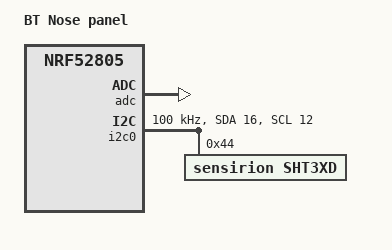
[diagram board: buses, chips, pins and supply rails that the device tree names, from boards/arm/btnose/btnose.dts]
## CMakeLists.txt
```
cmake_minimum_required(VERSION 3.20.1)

set(BOARD_ROOT ${CMAKE_CURRENT_LIST_DIR})
set(BOARD btnose)

include($ENV{ZEPHYR_BASE}/cmake/app/boilerplate.cmake NO_POLICY_SCOPE)
project(btnose)

target_sources(app PRIVATE ../src/main.c)
```

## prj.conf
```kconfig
CONFIG_BT=y
CONFIG_BT_DEBUG_LOG=y
CONFIG_BT_DEVICE_NAME="BTNose"

CONFIG_GPIO=y
CONFIG_WATCHDOG=y

CONFIG_UART_CONSOLE=n
CONFIG_USE_SEGGER_RTT=y
CONFIG_SEGGER_RTT_MODE_NO_BLOCK_SKIP=y
CONFIG_RTT_CONSOLE=y

CONFIG_TRACING=y
CONFIG_THREAD_NAME=y
CONFIG_SEGGER_SYSTEMVIEW=y
CONFIG_SEGGER_SYSTEMVIEW_BOOT_ENABLE=y

CONFIG_LOG=y
CONFIG_LOG_FUNC_NAME_PREFIX_DBG=n
CONFIG_LOG_PRINTK=y
CONFIG_LOG_BACKEND_RTT=y
CONFIG_LOG_BACKEND_RTT_MODE_BLOCK=n
CONFIG_LOG_PROCESS_TRIGGER_THRESHOLD=0
CONFIG_LOG_PROCESS_THREAD_SLEEP_MS=0

CONFIG_LOG_DEFAULT_LEVEL=4
CONFIG_CBPRINTF_FP_SUPPORT=y

CONFIG_I2C=y
CONFIG_I2C_NRFX=y
CONFIG_I2C_INIT_PRIORITY=60
#CONFIG_I2C_LOG_LEVEL=4

CONFIG_SENSOR=y
#CONFIG_HTS221=y
#CONFIG_HTS221_TRIGGER_NONE=y
CONFIG_SHT3XD=y
CONFIG_SHT3XD_SINGLE_SHOT_MODE=y

CONFIG_REBOOT=y
```

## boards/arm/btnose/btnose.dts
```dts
/*
 * Copyright (c) 2017 Shawn Nock <shawn@monadnock.ca>
 * Copyright (c) 2017 Linaro Limited
 *
 * SPDX-License-Identifier: Apache-2.0
 */

/dts-v1/;
#include <nordic/nrf52805_caaa.dtsi>

/ {
	model = "BT Nose panel";
	compatible = "nrf52805";

	chosen {
		zephyr,console = &uart0;
		zephyr,shell-uart = &uart0;
		zephyr,uart-mcumgr = &uart0;
		zephyr,bt-mon-uart = &uart0;
		zephyr,bt-c2h-uart = &uart0;
		zephyr,sram = &sram0;
		zephyr,flash = &flash0;
		zephyr,code-partition = &slot0_partition;
	};

};

&adc {
	status = "okay";
};

&gpio0 {
	status = "okay";
};

&i2c0 {
	/* Cannot be used together with spi1. */
	status = "okay";
	compatible = "nordic,nrf-twi";
	clock-frequency = <I2C_BITRATE_STANDARD>;
	sda-pin = <16>;
	scl-pin = <12>;

    sht3xd@44 {
		compatible = "sensirion,sht3xd";
		reg = <0x44>;
		label = "SHT3XD";
	};

};

&flash0 {
	/*
	 * For more information, see:
	 * http://docs.zephyrproject.org/latest/guides/dts/index.html#flash-partitions
	 */
	partitions {
		compatible = "fixed-partitions";
		#address-cells = <1>;
		#size-cells = <1>;

		boot_partition: partition@0 {
			label = "mcuboot";
			reg = <0x00000000 0xc000>;
		};
		slot0_partition: partition@c000 {
			label = "image-0";
			reg = <0x0000C000 0x32000>;
		};
		slot1_partition: partition@3e000 {
			label = "image-1";
			reg = <0x0003E000 0x32000>;
		};
		scratch_partition: partition@70000 {
			label = "image-scratch";
			reg = <0x00070000 0xa000>;
		};
		storage_partition: partition@7a000 {
			label = "storage";
			reg = <0x0007a000 0x00006000>;
		};
	};
}; 
```

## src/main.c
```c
/* main.c - Application main entry point */

/*
 * Copyright (c) 2015-2016 Intel Corporation
 *
 * SPDX-License-Identifier: Apache-2.0
 */

#include <zephyr/types.h>
#include <stddef.h>
#include <sys/printk.h>
#include <sys/util.h>

#include <bluetooth/bluetooth.h>
#include <bluetooth/hci.h>

#include <device.h>
#include <drivers/sensor.h>
#include <drivers/watchdog.h>
#include <drivers/adc.h>
#include <drivers/gpio.h>
#include <sys/reboot.h>

#include <logging/log.h>

#define DEVICE_NAME CONFIG_BT_DEVICE_NAME
#define DEVICE_NAME_LEN (sizeof(DEVICE_NAME) - 1)
#define BEACON_INTERVAL_SECONDS 	5
LOG_MODULE_REGISTER(BTNOSE, LOG_LEVEL_DBG);


#pragma pack(1)
static struct s_statedata {
	uint32_t magic;
	uint8_t  version;
	uint8_t  serial;
	uint8_t  temperature_fieldcode;
	int16_t  temperature_value;
	uint8_t  humidity_fieldcode;
	int16_t  humidity_value;
	uint8_t  battery_fieldcode;
	uint8_t  battery_value;
	uint8_t  vcc_fieldcode;
	uint8_t  vcc_value;
} statedata;



/* Set Advertisement data. */
static const struct bt_data ad[] = {
	BT_DATA_BYTES(BT_DATA_FLAGS, BT_LE_AD_NO_BREDR | BT_LE_AD_GENERAL),
	BT_DATA(BT_DATA_MANUFACTURER_DATA, 
		&statedata, sizeof(statedata)
	)
};
/* Set Scan Response data */
static const struct bt_data sd[] = {
	BT_DATA(BT_DATA_NAME_COMPLETE, DEVICE_NAME, DEVICE_NAME_LEN)
};


#define BLINK_MS	10
struct device *gpio = NULL;
void blink() {
	gpio_pin_set(gpio, 20, 1);
	k_sleep(K_MSEC(BLINK_MS));
	gpio_pin_set(gpio, 20, 0);
}


void reboot(const char *reboot_err_message) {
	LOG_ERR("%s - Rebooting...", log_strdup(reboot_err_message));
	k_sleep(K_MSEC(2000));
	sys_reboot(SYS_REBOOT_COLD);
	k_sleep(K_MSEC(1000));
}



static void bt_ready(int err)
{
	if (err) {
		LOG_ERR("Bluetooth init failed (err %d)", err);
		reboot("BLE error");
		return;
	} else {
		LOG_DBG("Bluetooth enabled, ready.");
	}
}



static int bt_restart_adv() {
	int err = 0;

	LOG_DBG("Shutdown BLE for restart of advertising... ");
	err = bt_le_adv_stop();
	if (err) {
		LOG_ERR("Advertising failed to stop (err %d)", err);
		reboot("BLE error");
	}

	k_sleep(K_MSEC(200));

	struct bt_le_adv_param no_conn = {
		.id = 0,
		.options = BT_LE_ADV_OPT_USE_IDENTITY, // no connection possible
		.interval_min = BT_GAP_ADV_SLOW_INT_MIN * BEACON_INTERVAL_SECONDS,
		.interval_max = BT_GAP_ADV_SLOW_INT_MAX * BEACON_INTERVAL_SECONDS
	};
	/* Start advertising */
	LOG_DBG("Restarting BLE advertising... ");
	err = bt_le_adv_start(&no_conn,
					ad, ARRAY_SIZE(ad),
			    	sd, ARRAY_SIZE(sd));
					//nullptr, 0);
	if (err) {
		LOG_ERR("Advertising failed to start (err %d)", err);
		reboot("BLE error");
		return err;
	} else {
		LOG_INF("BT adv restarted with serial=%u.", statedata.serial);
		return 0;
	}
}



static void process_sample(const struct device *dev)
{
	static unsigned int obs;
	struct sensor_value temp, hum;
	if (sensor_sample_fetch(dev) < 0) {
		reboot("Sensor sample update error");
		return;
	}

	if (sensor_channel_get(dev, SENSOR_CHAN_AMBIENT_TEMP, &temp) < 0) {
		reboot("Cannot read temperature channel");
		return;
	}

	if (sensor_channel_get(dev, SENSOR_CHAN_HUMIDITY, &hum) < 0) {
		reboot("Cannot read humidity channel");
		return;
	}

	++obs;
	LOG_DBG("Observation: %u", obs);

	/* display temperature */
	LOG_INF("Temperature: %d.%06d C", temp.val1, temp.val2);
	double temp_tempval = sensor_value_to_double(&temp);
	statedata.temperature_value = (int16_t)(temp_tempval * 100);
	LOG_DBG("statedata.temperature_value: %d", (int16_t)(temp_tempval * 100));

	/* display humidity */
	LOG_INF("Relative Humidity: %d.%06d%%", hum.val1, hum.val2);
	double hum_tempval = sensor_value_to_double(&hum);
	statedata.humidity_value = (int16_t)(hum_tempval * 100);
	LOG_DBG("statedata.humidity_value: %d", statedata.humidity_value);

	statedata.serial++;
	bt_restart_adv();

	blink();
}




int wdt_channel_id;
const struct device *wdt;
const uint32_t WATCHDOG_PERIOD_MILLISEC = (3600 + 10) * 1000; // reset after dead for 3600 sec

static void wdt_callback(const struct device *wdt_dev, int channel_id)
{
	ARG_UNUSED(wdt_dev);
	ARG_UNUSED(channel_id);
	/* Watchdog timer expired. Handle it here.
	 * Remember that SoC reset will be done soon.
	 */
	LOG_ERR("WDT RESET");
	k_sleep(K_MSEC(500));
	// no reset? do it ourselves.
	sys_reboot(SYS_REBOOT_COLD);
}

static void init_watchdog() {
	struct wdt_timeout_cfg wdt_config;

	#ifdef CONFIG_WDT_0_NAME
	#define WDT_DEV_NAME CONFIG_WDT_0_NAME
	#else
	#define WDT_DEV_NAME DT_WDT_0_NAME
	#endif
	wdt = device_get_binding(DT_LABEL(DT_NODELABEL(wdt)));

	if (!wdt) {
		reboot("Cannot get WDT device");
		return;
	}

	/* Reset SoC when watchdog timer expires. */
	wdt_config.flags = WDT_FLAG_RESET_SOC;

	/* Expire watchdog after window.max milliseconds. */
	wdt_config.window.min = 0;
	wdt_config.window.max = WATCHDOG_PERIOD_MILLISEC; // 11 minutes

	/* Set up watchdog callback. Jump into it when watchdog expired. */
	wdt_config.callback = wdt_callback;

	wdt_channel_id = wdt_install_timeout(wdt, &wdt_config);
	if (wdt_channel_id < 0) {
		reboot("Watchdog install error");
		return;
	}

	int err = wdt_setup(wdt, 0);
	if (err < 0) {
		reboot("Watchdog setup error");
		return;
	} else {
		LOG_INF("Watchdog on.");
	}
}



void main(void)
{	
	LOG_INF("Starting BT Nose Beacon\n");

	init_watchdog();

	gpio = device_get_binding("GPIO_0");
	if (gpio == NULL) {
		reboot("Could not get the gpio descriptor\n");
		return;
	}
	gpio_pin_configure(gpio, 20, GPIO_OUTPUT | GPIO_ACTIVE_LOW);
	gpio_pin_set(gpio, 20, 0);

	const struct device *dev = device_get_binding("SHT3XD");
	if (dev == NULL) {
		reboot("Could not get the sensor device descriptor\n");
		return;
	} else {
		LOG_INF("Sensor found\n");
	}

	/* Initialize the Bluetooth Subsystem */
	int err = bt_enable(bt_ready);
	if (err) {
		LOG_ERR("Bluetooth init failed (err %d)\n", err);
		reboot("BT init failed");
	}

	statedata.magic = 0xFEEDBEEF;
	statedata.version = 0x00;
	statedata.serial = 0;
	statedata.temperature_fieldcode = 0x10;
	statedata.temperature_value = 0xFFFF; // 0xFFFF = no data
	statedata.humidity_fieldcode = 0x30; 
	statedata.humidity_value = 0xFFFF; // 0xFFFF = no data
	statedata.battery_fieldcode = 0xBA; 
	statedata.battery_value = 0xFF; // 0xFF = no data
	statedata.vcc_fieldcode = 0xBB; 
	statedata.vcc_value = 0xFF; // 0xFF = no data*/
	LOG_DBG("BT statedata size == %d", sizeof(statedata));

	uint32_t cycles_max_before_reboot = 1000;
	while (true) {
		process_sample(dev);
		wdt_feed(wdt, wdt_channel_id);
		k_sleep(K_MSEC(1666));
		LOG_DBG("...");
		k_sleep(K_MSEC(1666));
		LOG_DBG("...");
		k_sleep(K_MSEC(1666));
		LOG_DBG("...");
		if (--cycles_max_before_reboot == 0) {
			reboot("Uptime too long :) reboot!");
		}
	}
}
```
